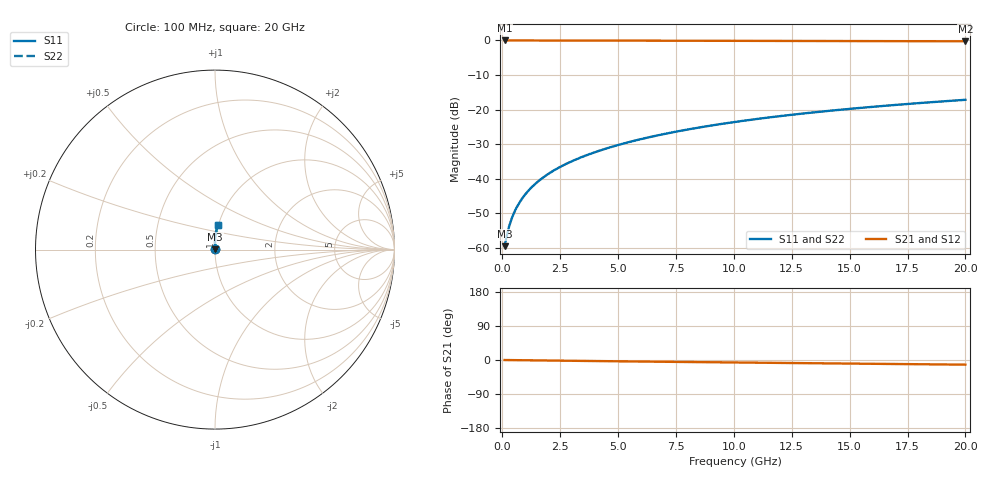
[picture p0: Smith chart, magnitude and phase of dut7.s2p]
! Touchstone file exported from HFSS 2024.1.0
!  File:  C:/UserFiles/LocalFiles/RDL_TSV_Batchsim/temp_RDL_top_7_1778679629.aedt
!  Generated:  09:43:11 PM May 13, 2026
!  Design:  RDL_top
!  Project:  temp_RDL_top_7_1778679629
!  Setup:  Setup1
!  Solution:  Sweep
! Variables:
!  dtsv = 10.80580581um
!  hbump = 3um
!  htsv = 76.53um
!  ldown = 100um
!  lrdl = 139.44um
!  p = 40
!  p1 = 52.63um
!  rhole = 1um
!  t = 450um
!  tdown = 3.915915916um
!  trdl = 3.36um
!  wdown = 15.38538539um
!  wrdl = 25.27um
# GHz S MA R 50.000000
! Terminal data exported
! Port[1] = Box2_T1
! Port[2] = Box2_T2
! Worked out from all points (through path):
!   200 points, 100 MHz to 20 GHz, reference 50 ohm
!   highest |S21| = -0.01 dB at 100 MHz (marker M1); lowest = -0.3 dB at 20 GHz (marker M2)
!   group delay of S21, straight-line fit = 1.69 ps
!   lowest |S11| = -59.6 dB at 100 MHz (marker M3), VSWR 1.00, Z = 50.1 + j0.0641 ohm
!   |S11| at or under -10 dB: start of sweep to end of sweep
!   |S22| runs from -59.6 to -17.2 dB; largest |S21 - S12| = 4.7e-15
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0.1  0.001052 37.5  0.9992 -0.1  0.9992 -0.1  0.001052 37.5
! Gamma 0 0 0 0
! Port Impedance 50 0 50 0
0.2  0.00153 55.3  0.9991 -0.1  0.9991 -0.1  0.00153 55.3
0.3  0.002063 63.9  0.9991 -0.2  0.9991 -0.2  0.002063 63.9
0.4  0.002607 69.0  0.999 -0.3  0.999 -0.3  0.002607 69.0
0.5  0.003155 72.5  0.999 -0.4  0.999 -0.4  0.003155 72.5
0.6  0.003708 75.0  0.9989 -0.4  0.9989 -0.4  0.003708 75.0
0.8  0.004825 78.6  0.9988 -0.6  0.9988 -0.6  0.004825 78.6
1.1  0.006528 81.9  0.9987 -0.8  0.9987 -0.8  0.006528 81.9
1.5  0.008837 84.6  0.9984 -1.1  0.9984 -1.1  0.008837 84.6
1.8  0.01059 85.9  0.9982 -1.3  0.9982 -1.3  0.01059 85.9
2.1  0.01237 86.9  0.998 -1.5  0.998 -1.5  0.01237 86.9
2.7  0.01598 88.4  0.9974 -1.9  0.9974 -1.9  0.01598 88.4
3.5  0.02094 89.6  0.9964 -2.4  0.9964 -2.4  0.02094 89.6
4.2  0.02539 90.3  0.9954 -2.9  0.9954 -2.9  0.02539 90.3
5  0.03063 90.7  0.9942 -3.4  0.9942 -3.4  0.03063 90.7
5.9  0.03668 90.9  0.9928 -4.0  0.9928 -4.0  0.03668 90.9
6.8  0.04289 90.9  0.9913 -4.6  0.9913 -4.6  0.04289 90.9
8.4  0.05419 90.4  0.9887 -5.6  0.9887 -5.6  0.05419 90.4
10.1  0.06645 89.6  0.9859 -6.6  0.9859 -6.6  0.06645 89.6
13.4  0.09053 87.4  0.9809 -8.5  0.9809 -8.5  0.09053 87.4
16.7  0.1145 85.0  0.9762 -10.4  0.9762 -10.4  0.1145 85.0
20  0.1382 82.6  0.9715 -12.3  0.9715 -12.3  0.1382 82.6
